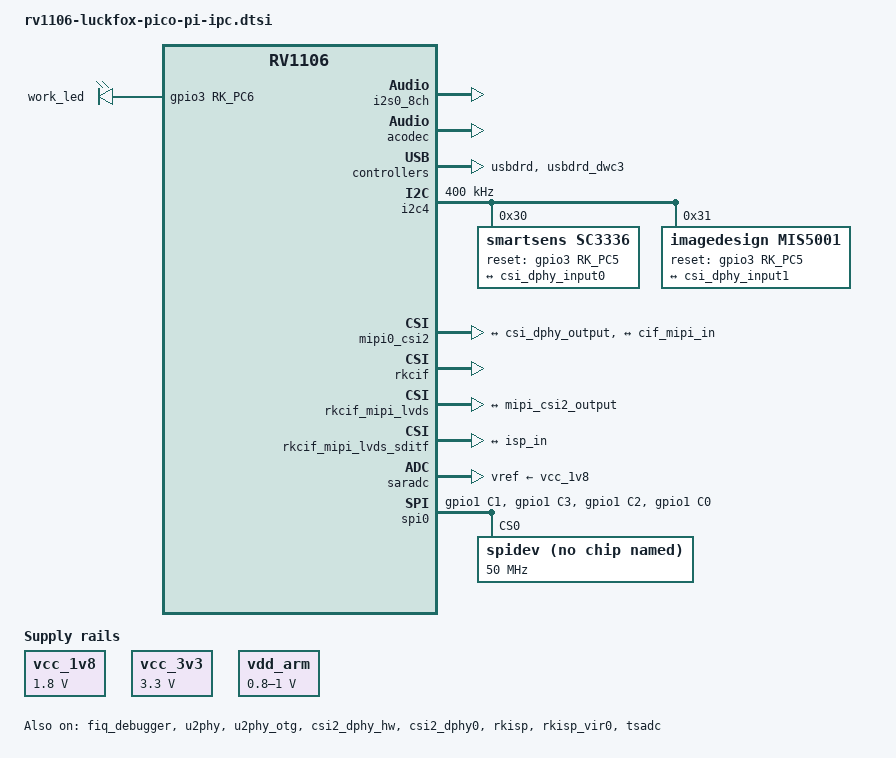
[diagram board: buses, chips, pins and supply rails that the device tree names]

// SPDX-License-Identifier: (GPL-2.0+ OR MIT)
/*
 * Copyright (c) 2022 Rockchip Electronics Co., Ltd.
 */

#include "rv1106-evb.dtsi"
#include <dt-bindings/input/input.h>
#include <dt-bindings/display/media-bus-format.h>

/ {
	chosen {
		bootargs = "earlycon=uart8250,mmio32,0xff4c0000 console=ttyFIQ0 root=/dev/mmcblk0p7 rootwait snd_soc_core.prealloc_buffer_size_kbytes=16 coherent_pool=0";
	};

	reserved_memory: reserved-memory {
		status = "okay";
		#address-cells = <1>;
		#size-cells = <1>;
		ranges;
		mmc_ecsd: mmc@3f000 {
			reg = <0x3f000 0x00001000>;
		};
	};

	acodec_sound: acodec-sound {
		compatible = "simple-audio-card";
		simple-audio-card,name = "rv1106-acodec";
		simple-audio-card,format = "i2s";
		simple-audio-card,mclk-fs = <256>;
		simple-audio-card,cpu {
			sound-dai = <&i2s0_8ch>;
		};
		simple-audio-card,codec {
			sound-dai = <&acodec>;
		};
	};

	dsm_sound: dsm-sound {
		status = "disabled";
		compatible = "simple-audio-card";
		simple-audio-card,format = "i2s";
		simple-audio-card,mclk-fs = <256>;
		simple-audio-card,name = "rockchip,dsm-sound";
		simple-audio-card,bitclock-master = <&sndcodec>;
		simple-audio-card,frame-master = <&sndcodec>;
		sndcpu: simple-audio-card,cpu {
			sound-dai = <&i2s0_8ch>;
		};
		sndcodec: simple-audio-card,codec {
			sound-dai = <&dsm>;
		};
	};

	vcc_1v8: vcc-1v8 {
		compatible = "regulator-fixed";
		regulator-name = "vcc_1v8";
		regulator-always-on;
		regulator-boot-on;
		regulator-min-microvolt = <1800000>;
		regulator-max-microvolt = <1800000>;
	};

	vcc_3v3: vcc-3v3 {
		compatible = "regulator-fixed";
		regulator-name = "vcc_3v3";
		regulator-always-on;
		regulator-boot-on;
		regulator-min-microvolt = <3300000>;
		regulator-max-microvolt = <3300000>;
	};

	vdd_arm: vdd-arm {
		compatible = "regulator-fixed";
		regulator-name = "vdd_arm";
		regulator-min-microvolt = <800000>;
		regulator-max-microvolt = <1000000>;
		regulator-init-microvolt = <900000>;
		regulator-always-on;
		regulator-boot-on;
	};

	leds: leds {
		compatible = "gpio-leds";
		work_led: work{
			gpios = <&gpio3 RK_PC6 GPIO_ACTIVE_HIGH>;
			linux,default-trigger = "activity";
			default-state = "on";
		};
	};
};

/***************************** audio ********************************/
&i2s0_8ch {
	#sound-dai-cells = <0>;
	status = "okay";
};

&acodec {
	#sound-dai-cells = <0>;
	status = "okay";
};

/************************* FIQ_DUBUGGER ****************************/
&fiq_debugger {
	rockchip,irq-mode-enable = <1>;
	status = "okay";
};

/***************************** USB *********************************/
&u2phy {
	status = "okay";
};

&u2phy_otg {
	status = "okay";
};

&usbdrd {
	status = "okay";
};

&usbdrd_dwc3 {
	extcon = <&u2phy>;
	status = "okay";
};

/***************************** DSM *********************************/
&dsm {
	status = "disabled";
};

&cpu0 {
	cpu-supply = <&vdd_arm>;
};

/*************************** CSI *********************************/
&csi2_dphy_hw {
	status = "okay";
};

&csi2_dphy0 {
	status = "okay";

	ports {
		#address-cells = <1>;
		#size-cells = <0>;

		port@0 {
			reg = <0>;
			#address-cells = <1>;
			#size-cells = <0>;

			csi_dphy_input0: endpoint@0 {
				reg = <0>;
				remote-endpoint = <&sc3336_out>;
				data-lanes = <1 2>;
			};

			csi_dphy_input1: endpoint@1 {
				reg = <1>;
				remote-endpoint = <&mis5001_out>;
				data-lanes = <1 2>;
			};
		};

		port@1 {
			reg = <1>;
			#address-cells = <1>;
			#size-cells = <0>;

			csi_dphy_output: endpoint@0 {
				reg = <0>;
				remote-endpoint = <&mipi_csi2_input>;
			};
		};
	};
};

&i2c4 {
	status = "okay";
	clock-frequency = <400000>;
	pinctrl-names = "default";
	//pinctrl-0 = <&i2c4m2_xfer>;

	sc3336: sc3336@30 {
		compatible = "smartsens,sc3336";
		status = "okay";
		reg = <0x30>;
		clocks = <&cru MCLK_REF_MIPI0>;
		clock-names = "xvclk";
		reset-gpios = <&gpio3 RK_PC5 GPIO_ACTIVE_HIGH>;
		pinctrl-names = "default";
		pinctrl-0 = <&mipi_refclk_out0>;
		rockchip,camera-module-index = <0>;
		rockchip,camera-module-facing = "back";
		rockchip,camera-module-name = "CMK-OT2119-PC1";
		rockchip,camera-module-lens-name = "30IRC-F16";
		port {
			sc3336_out: endpoint {
				remote-endpoint = <&csi_dphy_input0>;
				data-lanes = <1 2>;
			};
		};
	};

	mis5001: mis5001@31 {
		compatible = "imagedesign,mis5001";
		status = "okay";
		reg = <0x31>;
		clocks = <&cru MCLK_REF_MIPI0>;
		clock-names = "xvclk";
		reset-gpios = <&gpio3 RK_PC5 GPIO_ACTIVE_HIGH>;
		pinctrl-names = "default";
		pinctrl-0 = <&mipi_refclk_out0>;
		rockchip,camera-module-index = <0>;
		rockchip,camera-module-facing = "back";
		rockchip,camera-module-name = "CMK-OT2115-PC1";
		rockchip,camera-module-lens-name = "30IRC-F16";
		port {
			mis5001_out: endpoint {
				remote-endpoint = <&csi_dphy_input1>;
				data-lanes = <1 2>;
			};
		};
	};
};

&mipi0_csi2 {
	status = "okay";

	ports {
		#address-cells = <1>;
		#size-cells = <0>;

		port@0 {
			reg = <0>;
			#address-cells = <1>;
			#size-cells = <0>;

			mipi_csi2_input: endpoint@1 {
				reg = <1>;
				remote-endpoint = <&csi_dphy_output>;
			};
		};

		port@1 {
			reg = <1>;
			#address-cells = <1>;
			#size-cells = <0>;

			mipi_csi2_output: endpoint@0 {
				reg = <0>;
				remote-endpoint = <&cif_mipi_in>;
			};
		};
	};
};

&rkcif {
	status = "okay";
};

&rkcif_mipi_lvds {
	status = "okay";

	pinctrl-names = "default";
	pinctrl-0 = <&mipi_pins>;
	port {
		/* MIPI CSI-2 endpoint */
		cif_mipi_in: endpoint {
			remote-endpoint = <&mipi_csi2_output>;
		};
	};
};

&rkcif_mipi_lvds_sditf {
	status = "okay";

	port {
		/* MIPI CSI-2 endpoint */
		mipi_lvds_sditf: endpoint {
			remote-endpoint = <&isp_in>;
		};
	};
};

&rkisp {
	status = "okay";
};

&rkisp_vir0 {
	status = "okay";

	port@0 {
		isp_in: endpoint {
			remote-endpoint = <&mipi_lvds_sditf>;
		};
	};
};

/***************************** ADC ********************************/
&saradc {
	status = "okay";
	vref-supply = <&vcc_1v8>;
};

&tsadc {
	status = "okay";
};

/**************************** PINCTRL ******************************/
// SPI
&spi0 {
	pinctrl-0 = <&spi0m0_clk &spi0m0_miso &spi0m0_mosi &spi0m0_cs0>;
	#address-cells = <1>;
	#size-cells = <0>;
	spidev@0 {
		compatible = "rockchip,spidev";
		spi-max-frequency = <50000000>;
		reg = <0>;
	};
};

// I2C
&i2c1 {
	pinctrl-0 = <&i2c1m1_xfer>;
};
&i2c2 {
	pinctrl-0 = <&i2c2m0_xfer>;
};
&i2c3 {
	pinctrl-0 = <&i2c3m0_xfer &i2c3m1_xfer &i2c3m2_xfer>;
};
&i2c4 {
	pinctrl-0 = <&i2c4m0_xfer &i2c4m1_xfer &i2c4m2_xfer>;
};

// UART
&uart0 {
	pinctrl-0 = <&uart0m0_xfer &uart0m1_xfer>;
};
&uart1 {
	pinctrl-0 = <&uart1m1_xfer>;
};
&uart3 {

	pinctrl-0 = <&uart3m0_xfer &uart3m1_xfer>;
};
&uart4 {
	pinctrl-0 = <&uart4m0_xfer &uart4m1_xfer>;
};
&uart5 {
	pinctrl-0 = <&uart5m1_xfer>;
};

// PWM
&pwm0 {
	pinctrl-0 = <&pwm0m1_pins>;
};
&pwm1 {
  pinctrl-0 = <&pwm1m1_pins &pwm1m2_pins>;
};
&pwm2 {
	pinctrl-0 = <&pwm2m0_pins &pwm2m1_pins &pwm2m2_pins>;
};
&pwm3 {
	pinctrl-0 = <&pwm3m1_pins &pwm3m2_pins>;
};
&pwm4 {
	pinctrl-0 = <&pwm4m0_pins &pwm4m1_pins &pwm4m2_pins>;
};
&pwm5 {
	pinctrl-0 = <&pwm5m1_pins &pwm5m2_pins>;
};
&pwm6 {
	pinctrl-0 = <&pwm6m1_pins &pwm6m2_pins>;
};
&pwm7 {
	pinctrl-0 = <&pwm7m0_pins &pwm7m1_pins>;
};
&pwm8 {
	pinctrl-0 = <&pwm8m1_pins>;
};
&pwm9 {
	pinctrl-0 = <&pwm9m1_pins>;
};
&pwm10 {
	pinctrl-0 = <&pwm10m1_pins &pwm10m2_pins>;
};
&pwm11 {
	pinctrl-0 = <&pwm11m1_pins &pwm11m2_pins>;
};

&pinctrl {
	spi0 {
		spi0m0_clk: spi0m0-clk {
			rockchip,pins = <1 RK_PC1 4 &pcfg_pull_none>;
		};
		spi0m0_mosi: spi0m0-mosi {
			rockchip,pins = <1 RK_PC2 6 &pcfg_pull_none>;
		};
		spi0m0_miso: spi0m0-miso {
			rockchip,pins = <1 RK_PC3 6 &pcfg_pull_none>;
		};
		spi0m0_cs0: spi0m0-cs0 {
			rockchip,pins = <1 RK_PC0 4 &pcfg_pull_none>;
		};
	};
};
